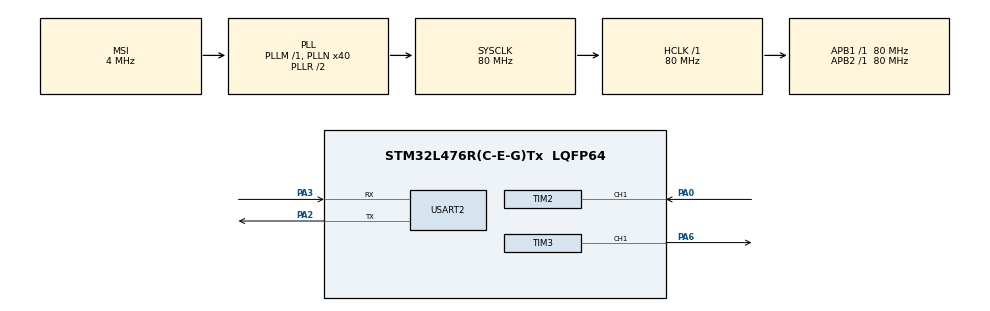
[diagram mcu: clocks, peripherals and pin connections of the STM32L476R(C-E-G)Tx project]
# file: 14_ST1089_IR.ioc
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Dma.Request0=TIM3_CH1/TRIG
Dma.TIM3_CH1/TRIG.0.Direction=DMA_MEMORY_TO_PERIPH
Dma.TIM3_CH1/TRIG.0.Instance=DMA1_Channel6
Dma.TIM3_CH1/TRIG.0.MemDataAlignment=DMA_MDATAALIGN_BYTE
Dma.TIM3_CH1/TRIG.0.MemInc=DMA_MINC_ENABLE
Dma.TIM3_CH1/TRIG.0.Mode=DMA_NORMAL
Dma.TIM3_CH1/TRIG.0.PeriphDataAlignment=DMA_PDATAALIGN_HALFWORD
Dma.TIM3_CH1/TRIG.0.PeriphInc=DMA_PINC_DISABLE
Dma.TIM3_CH1/TRIG.0.Priority=DMA_PRIORITY_LOW
Mcu.Family=STM32L4
Mcu.Name=STM32L476R(C-E-G)Tx
Mcu.Package=LQFP64
NVIC.DMA1_Channel6_IRQn=true\:0\:0\:false\:false\:true\:false\:true\:true
NVIC.PriorityGroup=NVIC_PRIORITYGROUP_4
NVIC.TIM2_IRQn=true\:8\:0\:true\:false\:true\:true\:true\:true
PA0.Signal=S_TIM2_CH1
PA13\ (JTMS-SWDIO).Mode=Serial_Wire
PA13\ (JTMS-SWDIO).Signal=SYS_JTMS-SWDIO
PA14\ (JTCK-SWCLK).Mode=Serial_Wire
PA14\ (JTCK-SWCLK).Signal=SYS_JTCK-SWCLK
PA2.Mode=Asynchronous
PA2.Signal=USART2_TX
PA3.Mode=Asynchronous
PA3.Signal=USART2_RX
PA6.Signal=S_TIM3_CH1
PC14-OSC32_IN\ (PC14).Mode=LSE-External-Oscillator
PC14-OSC32_IN\ (PC14).Signal=RCC_OSC32_IN
PC15-OSC32_OUT\ (PC15).Mode=LSE-External-Oscillator
PC15-OSC32_OUT\ (PC15).Signal=RCC_OSC32_OUT
ProjectManager.HeapSize=0x200
ProjectManager.StackSize=0x400
ProjectManager.TargetToolchain=STM32CubeIDE
RCC.AHBFreq_Value=80000000
RCC.APB1Freq_Value=80000000
RCC.APB1TimFreq_Value=80000000
RCC.APB2Freq_Value=80000000
RCC.APB2TimFreq_Value=80000000
RCC.CortexFreq_Value=80000000
RCC.HCLKFreq_Value=80000000
RCC.HSE_VALUE=8000000
RCC.HSI_VALUE=16000000
RCC.MSI_VALUE=4000000
RCC.PLLN=40
RCC.SYSCLKFreq_VALUE=80000000
RCC.SYSCLKSource=RCC_SYSCLKSOURCE_PLLCLK
RCC.VCOOutputFreq_Value=160000000
SH.S_TIM2_CH1.0=TIM2_CH1,TriggerSource_TI1ED
SH.S_TIM2_CH1.1=TIM2_CH1,Input_Capture1_from_TI1
SH.S_TIM3_CH1.0=TIM3_CH1,PWM Generation1 CH1
TIM2.Channel-Input_Capture1_from_TI1=TIM_CHANNEL_1
TIM2.ICPolarity_CH1=TIM_INPUTCHANNELPOLARITY_FALLING
TIM2.Prescaler=79
TIM3.Channel-PWM\ Generation1\ CH1=TIM_CHANNEL_1
TIM3.Period=99
USART2.VirtualMode-Asynchronous=VM_ASYNC
VP_TIM2_VS_ClockSourceINT.Mode=Internal
VP_TIM2_VS_ControllerModeReset.Mode=Reset Mode
VP_TIM3_VS_ClockSourceINT.Mode=Internal
board=custom

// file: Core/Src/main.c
/* USER CODE BEGIN Header */
/**
  ******************************************************************************
  * @file           : main.c
  * @brief          : Main program body
  ******************************************************************************
  * @attention
  *
  * Copyright (c) 2024 STMicroelectronics.
  * All rights reserved.
  *
  * This software is licensed under terms that can be found in the LICENSE file
  * in the root directory of this software component.
  * If no LICENSE file comes with this software, it is provided AS-IS.
  *
  ******************************************************************************
  */
/* USER CODE END Header */
#include "main.h"
#include "dma.h"
#include "tim.h"
#include "usart.h"
#include "gpio.h"

/* USER CODE BEGIN Includes */
#include <stdio.h>
#include <stdlib.h>
#include <stdbool.h>
#include "ir.h"
#include "ws2812b.h"

/* USER CODE END Includes */

/* USER CODE BEGIN PD */
#define LAST_MODE		4
/* USER CODE END PD */

/* USER CODE BEGIN PV */
const uint8_t gamma8[] = {
    0,  0,  0,  0,  0,  0,  0,  0,  0,  0,  0,  0,  0,  0,  0,  0,
    0,  0,  0,  0,  0,  0,  0,  0,  0,  0,  0,  0,  1,  1,  1,  1,
    1,  1,  1,  1,  1,  1,  1,  1,  1,  2,  2,  2,  2,  2,  2,  2,
    2,  3,  3,  3,  3,  3,  3,  3,  4,  4,  4,  4,  4,  5,  5,  5,
    5,  6,  6,  6,  6,  7,  7,  7,  7,  8,  8,  8,  9,  9,  9, 10,
   10, 10, 11, 11, 11, 12, 12, 13, 13, 13, 14, 14, 15, 15, 16, 16,
   17, 17, 18, 18, 19, 19, 20, 20, 21, 21, 22, 22, 23, 24, 24, 25,
   25, 26, 27, 27, 28, 29, 29, 30, 31, 32, 32, 33, 34, 35, 35, 36,
   37, 38, 39, 39, 40, 41, 42, 43, 44, 45, 46, 47, 48, 49, 50, 50,
   51, 52, 54, 55, 56, 57, 58, 59, 60, 61, 62, 63, 64, 66, 67, 68,
   69, 70, 72, 73, 74, 75, 77, 78, 79, 81, 82, 83, 85, 86, 87, 89,
   90, 92, 93, 95, 96, 98, 99,101,102,104,105,107,109,110,112,114,
  115,117,119,120,122,124,126,127,129,131,133,135,137,138,140,142,
  144,146,148,150,152,154,156,158,160,162,164,167,169,171,173,175,
  177,180,182,184,186,189,191,193,196,198,200,203,205,208,210,213,
  215,218,220,223,225,228,231,233,236,239,241,244,247,249,252,255 };

bool is_button_play_pressed;
short led_modes[7] = {0};
short brightness = 1;
short led_animation_mode = 0;

/* USER CODE END PV */

void SystemClock_Config(void);

/* USER CODE BEGIN 0 */

static short set_led_mode(short led_mode) {

	led_mode++;

	if(led_mode == LAST_MODE)
	  led_mode = 0;

	return led_mode;
}

static void led_on(short led, short mode, short brightness) {

	if(mode == 1) {

		ws2812b_set_color(led, brightness, 0, 0);
		ws2812b_update();

	}
	else if(mode == 2) {

		ws2812b_set_color(led, 0, brightness, 0);
		ws2812b_update();

	}
	else if(mode == 3) {

		ws2812b_set_color(led, 0, 0, brightness);
		ws2812b_update();

	}
	else {

		ws2812b_set_color(led, 0, 0, 0);
		ws2812b_update();

	}

}

int __io_putchar(int ch) {

  if (ch == '\n') {

    __io_putchar('\r');

  }

  HAL_UART_Transmit(&huart2, (uint8_t*)&ch, 1, HAL_MAX_DELAY);

  return 1;

}

void HAL_TIM_IC_CaptureCallback(TIM_HandleTypeDef *htim)
{

  if (htim == &htim2) {

    switch (HAL_TIM_GetActiveChannel(&htim2)) {
      case HAL_TIM_ACTIVE_CHANNEL_1:
    	  ir_tim_interrupt();
        break;
      default:
        break;
    }

  }

}

void control_ws2812b(int button_code) {

	  switch (button_code) {
	  case IR_CODE_1:
		led_modes[LED_1] = set_led_mode(led_modes[LED_1]);
		led_on(LED_1, led_modes[LED_1], brightness);
		break;
	  case IR_CODE_2:
		led_modes[LED_2] = set_led_mode(led_modes[LED_2]);
		led_on(LED_2, led_modes[LED_2], brightness);
		break;
	  case IR_CODE_3:
		led_modes[LED_3] = set_led_mode(led_modes[LED_3]);
		led_on(LED_3, led_modes[LED_3], brightness);
	    break;
	  case IR_CODE_4:
		led_modes[LED_4] = set_led_mode(led_modes[LED_4]);
		led_on(LED_4, led_modes[LED_4], brightness);
	    break;
	  case IR_CODE_5:
		led_modes[LED_5] = set_led_mode(led_modes[LED_5]);
		led_on(LED_5, led_modes[LED_5], brightness);
	    break;
	  case IR_CODE_6:
		led_modes[LED_6] = set_led_mode(led_modes[LED_6]);
		led_on(LED_6, led_modes[LED_6], brightness);
	    break;
	  case IR_CODE_7:
		led_modes[LED_7] = set_led_mode(led_modes[LED_7]);
		led_on(LED_7, led_modes[LED_7], brightness);
	    break;
	  case IR_CODE_PLAY:
		if(!is_button_play_pressed)
		  is_button_play_pressed = true;
		else
		  is_button_play_pressed = false;
		break;
	  case IR_CODE_ONOFF:
		is_button_play_pressed = false;
		for(int led = 0; led < 7; led++) {
		  ws2812b_set_color(led, 0, 0, 0);
		  ws2812b_update();
		}
		break;
	  case IR_CODE_PLUS:
		if(brightness >= 0 && brightness < 1)
			brightness += 1;
		else if(brightness >= 1 && brightness < 10)
		  brightness += 9;
		else if(brightness >= 10 && brightness < 90)
		  brightness += 80;
		else if(brightness >= 90 && brightness < 250)
		  brightness += 160;
		break;
	  case IR_CODE_MINUS:
		if(brightness > 0 && brightness <= 1)
		  brightness -= 1;
		else if(brightness > 1 && brightness <= 10)
		  brightness -= 9;
		else if(brightness > 10 && brightness <= 90)
		  brightness -= 80;
		else if(brightness > 110 && brightness <= 250)
		  brightness -= 160;
		break;
	  case IR_CODE_FORWARD:
		if(is_button_play_pressed)
		  if(led_animation_mode < 2)
			led_animation_mode += 1;
		break;
	  case IR_CODE_REWIND:
		if(is_button_play_pressed)
		  if(led_animation_mode > 0)
			led_animation_mode -= 1;
		break;
	  }

}

void led_animation() {

	if(is_button_play_pressed) {

		uint32_t delay_time;

		if(led_animation_mode == 0) {

			uint8_t r = gamma8[rand() % 256];
			uint8_t g = gamma8[rand() % 256];
			uint8_t b = gamma8[rand() % 256];

			for(int led = 0; led < 7; led++) {

				delay_time = HAL_GetTick();
				ws2812b_set_color(led, r, g, b);
				ws2812b_update();
				//HAL_Delay(100);
				while(HAL_GetTick() - delay_time <= 100){}

			}

		}
		else if(led_animation_mode == 1) {

			for(int led = 0; led < 7; led++) {

				delay_time = HAL_GetTick();

				uint8_t r = gamma8[rand() % 256];
				uint8_t g = gamma8[rand() % 256];
				uint8_t b = gamma8[rand() % 256];

				ws2812b_set_color(led, r, g, b);
				ws2812b_update();
				while(HAL_GetTick() - delay_time < 100){}

			}

		}
		else if(led_animation_mode == 2) {

			uint8_t r1;
			uint8_t g1;
			uint8_t b1;
			uint8_t r2;
			uint8_t g2;
			uint8_t b2;
			uint8_t last_led = 6;
			for(int led = 0; led < 7; led++) {

				delay_time = HAL_GetTick();

				r1 = gamma8[rand() % 256];
				g1 = gamma8[rand() % 256];
				b1 = gamma8[rand() % 256];
				r2 = gamma8[rand() % 256];
				g2 = gamma8[rand() % 256];
				b2 = gamma8[rand() % 256];

				ws2812b_set_color(led, r1, g1, b1);
				ws2812b_update();
				while(HAL_GetTick() - delay_time < 150){}
				ws2812b_set_color(led, 0, 0, 0);
				ws2812b_update();
				ws2812b_set_color(last_led, r2, g2, b2);
				ws2812b_update();

			}

		}

	}

}

/* USER CODE END 0 */

int main(void)
{

  /* MCU Configuration--------------------------------------------------------*/

  /* Reset of all peripherals, Initializes the Flash interface and the Systick. */
  HAL_Init();

  /* Configure the system clock */
  SystemClock_Config();

  /* Initialize all configured peripherals */
  MX_GPIO_Init();
  MX_DMA_Init();
  MX_TIM2_Init();
  MX_USART2_UART_Init();
  MX_TIM3_Init();
  /* USER CODE BEGIN 2 */

  ir_init();
  ws2812b_init();

  /* USER CODE END 2 */

  /* Infinite loop */
  /* USER CODE BEGIN WHILE */
  while (1)
  {

	  int value = ir_read();
	  control_ws2812b(value);
	  led_animation();

    /* USER CODE END WHILE */

  }
}

void SystemClock_Config(void)
{
  RCC_OscInitTypeDef RCC_OscInitStruct = {0};
  RCC_ClkInitTypeDef RCC_ClkInitStruct = {0};

  /** Configure the main internal regulator output voltage
  */
  if (HAL_PWREx_ControlVoltageScaling(PWR_REGULATOR_VOLTAGE_SCALE1) != HAL_OK)
  {
    Error_Handler();
  }

  /** Configure LSE Drive Capability
  */
  HAL_PWR_EnableBkUpAccess();
  __HAL_RCC_LSEDRIVE_CONFIG(RCC_LSEDRIVE_LOW);

  /** Initializes the RCC Oscillators according to the specified parameters
  * in the RCC_OscInitTypeDef structure.
  */
  RCC_OscInitStruct.OscillatorType = RCC_OSCILLATORTYPE_LSE|RCC_OSCILLATORTYPE_MSI;
  RCC_OscInitStruct.LSEState = RCC_LSE_ON;
  RCC_OscInitStruct.MSIState = RCC_MSI_ON;
  RCC_OscInitStruct.MSICalibrationValue = 0;
  RCC_OscInitStruct.MSIClockRange = RCC_MSIRANGE_6;
  RCC_OscInitStruct.PLL.PLLState = RCC_PLL_ON;
  RCC_OscInitStruct.PLL.PLLSource = RCC_PLLSOURCE_MSI;
  RCC_OscInitStruct.PLL.PLLM = 1;
  RCC_OscInitStruct.PLL.PLLN = 40;
  RCC_OscInitStruct.PLL.PLLP = RCC_PLLP_DIV7;
  RCC_OscInitStruct.PLL.PLLQ = RCC_PLLQ_DIV2;
  RCC_OscInitStruct.PLL.PLLR = RCC_PLLR_DIV2;
  if (HAL_RCC_OscConfig(&RCC_OscInitStruct) != HAL_OK)
  {
    Error_Handler();
  }

  /** Initializes the CPU, AHB and APB buses clocks
  */
  RCC_ClkInitStruct.ClockType = RCC_CLOCKTYPE_HCLK|RCC_CLOCKTYPE_SYSCLK
                              |RCC_CLOCKTYPE_PCLK1|RCC_CLOCKTYPE_PCLK2;
  RCC_ClkInitStruct.SYSCLKSource = RCC_SYSCLKSOURCE_PLLCLK;
  RCC_ClkInitStruct.AHBCLKDivider = RCC_SYSCLK_DIV1;
  RCC_ClkInitStruct.APB1CLKDivider = RCC_HCLK_DIV1;
  RCC_ClkInitStruct.APB2CLKDivider = RCC_HCLK_DIV1;

  if (HAL_RCC_ClockConfig(&RCC_ClkInitStruct, FLASH_LATENCY_4) != HAL_OK)
  {
    Error_Handler();
  }

  /** Enable MSI Auto calibration
  */
  HAL_RCCEx_EnableMSIPLLMode();
}

void Error_Handler(void)
{
  __disable_irq();
  while (1)
  {
  }
}
